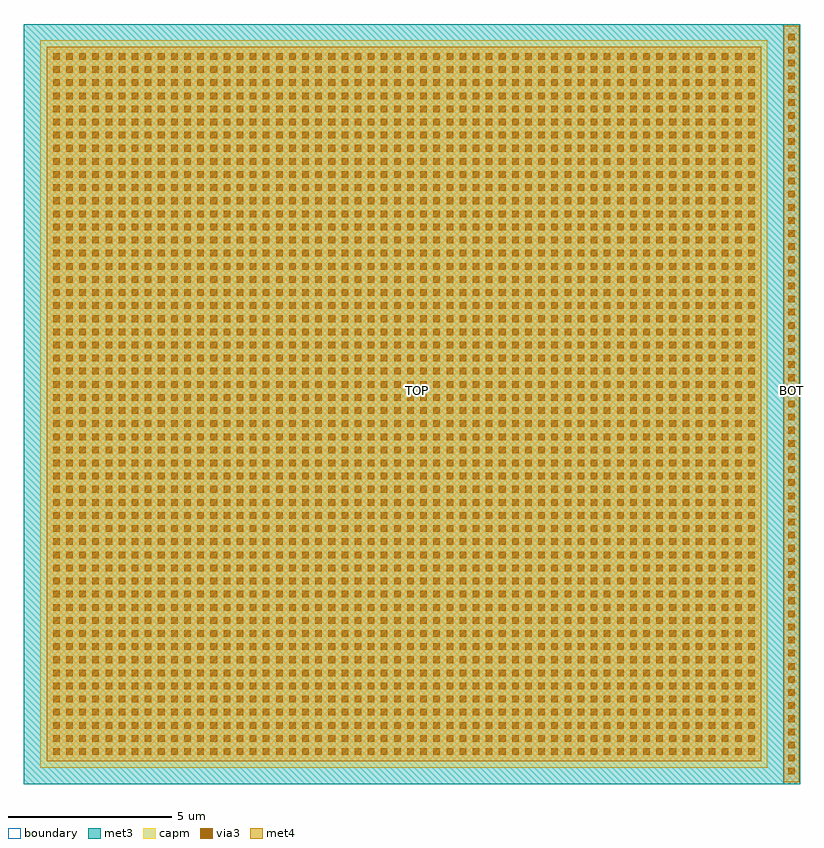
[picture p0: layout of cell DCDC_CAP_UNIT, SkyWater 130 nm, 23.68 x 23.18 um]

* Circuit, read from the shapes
.subckt DCDC_CAP_UNIT BOT TOP
XC1 TOP BOT sky130_fd_pr__cap_mim_m3_1 w=22.18 l=22.18
.ends

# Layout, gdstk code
import gdstk
lib = gdstk.Library(unit=1e-6, precision=1e-09)
def R(c, l, rs):  # rectangles x0, y0, x1, y1
    for r in rs: c.add(gdstk.rectangle(r[:2], r[2:], *l))
def A(c, l, x, y, w, h, nx, ny, dx, dy):  # array of equal rectangles
    R(c, l, [(x+i*dx, y+j*dy, x+i*dx+w, y+j*dy+h) for i in range(nx) for j in range(ny)])
met3 = (70, 20)
via3 = (70, 44)
met4 = (71, 20)
capm = (89, 44)
boundary = (235, 4)

dcdc_cap_unit = lib.new_cell('DCDC_CAP_UNIT')
R(dcdc_cap_unit, met3, [(0,0,23.675,23.18)])
A(dcdc_cap_unit, via3, 23.315, 0.29, 0.2, 0.2, 1, 57, 0, 0.4)
A(dcdc_cap_unit, via3, 0.89, 0.89, 0.2, 0.2, 54, 54, 0.4, 0.4)
R(dcdc_cap_unit, met4, [(23.175,0.06,23.655,23.12), (0.695,0.695,22.485,22.485)])
R(dcdc_cap_unit, capm, [(0.5,0.5,22.68,22.68)])
R(dcdc_cap_unit, boundary, [(0,0,23.18,23.18)])
dcdc_cap_unit.add(gdstk.Label('TOP', (12,12), layer=71, texttype=5))
dcdc_cap_unit.add(gdstk.Label('BOT', (23.4,12), layer=71, texttype=5))
dcdc_cap_unit.add(gdstk.Label('BOT', (12,12), layer=70, texttype=5))

lib.write_gds('DCDC_CAP_UNIT.gds')
